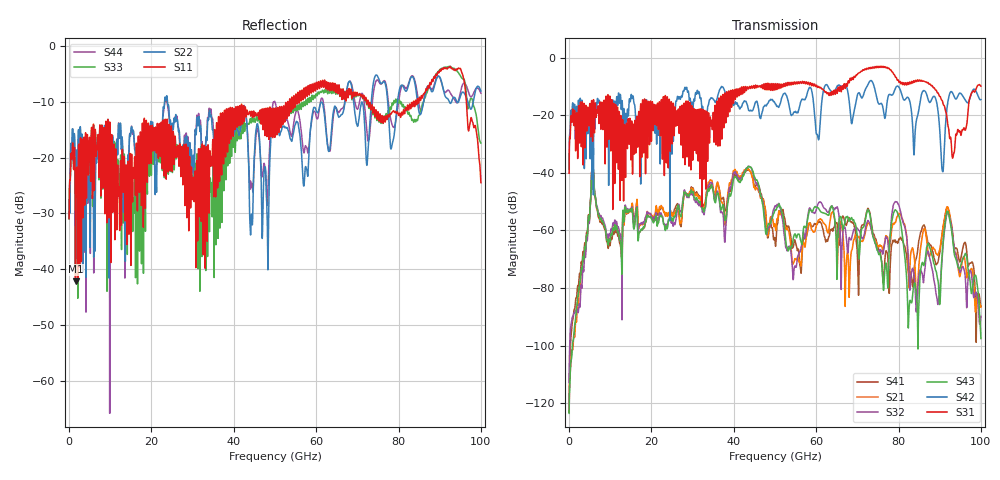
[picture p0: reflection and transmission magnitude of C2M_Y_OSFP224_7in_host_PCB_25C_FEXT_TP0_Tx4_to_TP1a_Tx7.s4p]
# GHz S RI R 45
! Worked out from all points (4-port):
!   4000 points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, 25 MHz to 100 GHz, reference 45 ohm
!   strongest paths, dB at 25 MHz, 25.02 GHz, 50.02 GHz, 75.03 GHz, 100 GHz:
!     S31: -40.2, -25.7, -10.9, -3.5, -9.9
!     S42: -38.8, -30.3, -16.0, -15.6, -14.6
!     S43: -123.5, -55.7, -52.8, -67.4, -97.6
!     S32: -112.8, -56.6, -51.4, -67.0, -89.8
!     S21: -123.0, -54.0, -58.1, -65.3, -86.7
!     S41: -123.1, -53.8, -63.6, -65.7, -86.4
!   lowest |S11| = -42.1 dB at 1.575 GHz (marker M1), VSWR 1.02, Z = 44.6 - j0.601 ohm
!   |S11| at or under -10 dB: start of sweep to 53.09 GHz; 72.63 GHz to 83.62 GHz (10.99 GHz wide, 14.1 % of centre); 96.47 GHz to end of sweep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
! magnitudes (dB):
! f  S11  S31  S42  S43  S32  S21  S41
! 25 MHz  -30.9  -40.2  -38.8  -123.5  -112.8  -123.0  -123.1
! 1.575 GHz  -42.1  -29.8  -28.3  -91.0  -87.8  -91.6  -84.5
! 5.8 GHz  -18.2  -19.7  -20.9  -37.9  -38.0  -38.1  -37.9
! 43.73 GHz  -12.1  -10.3  -18.4  -37.9  -37.7  -38.9  -39.2
! 54.67 GHz  -9.3  -8.4  -18.9  -61.6  -73.1  -70.5  -63.7
! 79.4 GHz  -11.9  -6.9  -10.3  -53.1  -50.1  -56.6  -64.3
! 100 GHz  -24.5  -9.9  -14.6  -97.6  -89.8  -86.7  -86.4
